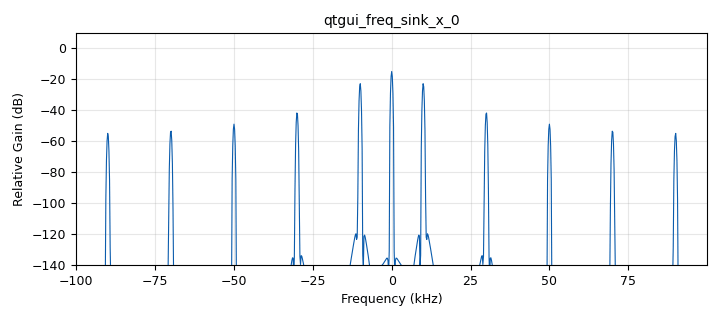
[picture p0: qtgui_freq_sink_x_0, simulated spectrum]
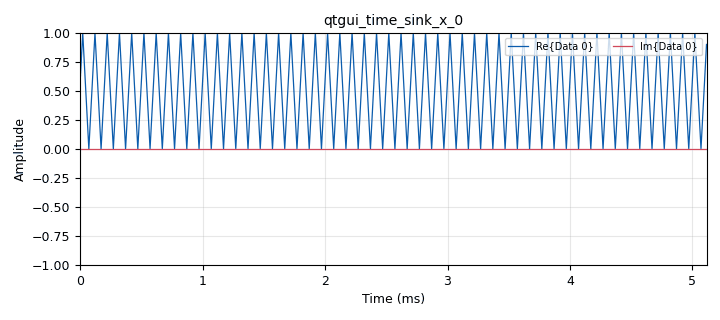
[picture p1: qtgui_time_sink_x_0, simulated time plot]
options:
  parameters:
    author: Manuel_Solano_Fabian_Jimenes_J1B_2
    copyright: Manuel_Solano_Fabian_Jimenes_J1B_2
    generate_options: qt_gui
    id: Lab3_2_1
    output_language: python
    title: ComunicacionesUSRP
  states: {}

blocks:
- name: A
  id: variable_qtgui_range
  parameters:
    label: Amplitud Señal TX
    start: '0'
    step: '0.0001'
    stop: '1'
    value: '1'
  states: {}
- name: GTX
  id: variable_qtgui_range
  parameters:
    label: Ganancia del GTX
    start: '0'
    step: '1'
    stop: '30'
    value: '0'
  states: {}
- name: fc
  id: variable_qtgui_range
  parameters:
    label: frecuencia portadora
    start: '50000000'
    step: '1000000'
    stop: '2200000000'
    value: '50000000'
  states: {}
- name: samp_rate
  id: variable
  parameters:
    value: '200000'
  states: {}
- name: CalculoPotenciaComunicaciones_0
  id: CalculoPotenciaComunicaciones
  parameters:
    I_vect: '1024'
  states: {}
- name: analog_sig_source_x_0
  id: analog_sig_source_x
  parameters:
    amp: A
    freq: '10000'
    offset: '0'
    phase: '0'
    samp_rate: samp_rate
    type: float
    waveform: analog.GR_TRI_WAVE
  states: {}
- name: blocks_float_to_complex_0
  id: blocks_float_to_complex
  parameters: {}
  states: {}
- name: qtgui_freq_sink_x_0
  id: qtgui_freq_sink_x
  parameters:
    bw: samp_rate
    fc: '0'
    fftsize: '1024'
    type: complex
  states: {}
- name: qtgui_time_sink_x_0
  id: qtgui_time_sink_x
  parameters:
    size: '1024'
    srate: samp_rate
    type: complex
  states: {}
- name: uhd_usrp_sink_0
  id: uhd_usrp_sink
  parameters:
    ant0: '"TX/RX"'
    center_freq0: fc
    gain0: GTX
    samp_rate: samp_rate
    sync: pc_clock
    type: fc32
  states: {}

connections:
- [analog_sig_source_x_0, '0', CalculoPotenciaComunicaciones_0, '0']
- [analog_sig_source_x_0, '0', blocks_float_to_complex_0, '0']
- [blocks_float_to_complex_0, '0', qtgui_freq_sink_x_0, '0']
- [blocks_float_to_complex_0, '0', qtgui_time_sink_x_0, '0']
- [blocks_float_to_complex_0, '0', uhd_usrp_sink_0, '0']

metadata:
  file_format: 1
  grc_version: 3.10.5.1
